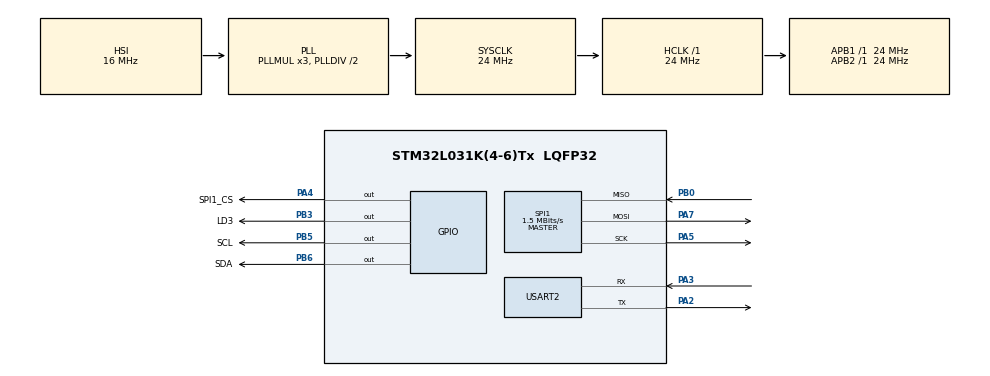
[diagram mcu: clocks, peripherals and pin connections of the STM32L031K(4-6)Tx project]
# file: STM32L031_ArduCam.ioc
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Mcu.Family=STM32L0
Mcu.Name=STM32L031K(4-6)Tx
Mcu.Package=LQFP32
PA2.Mode=Asynchronous
PA2.Signal=USART2_TX
PA3.Mode=Asynchronous
PA3.Signal=USART2_RX
PA4.GPIO_Label=SPI1_CS
PA4.GPIO_PuPd=GPIO_PULLUP
PA4.GPIO_Speed=GPIO_SPEED_FREQ_VERY_HIGH
PA4.PinState=GPIO_PIN_RESET
PA4.Signal=GPIO_Output
PA5.Mode=Full_Duplex_Master
PA5.Signal=SPI1_SCK
PA7.GPIO_PuPd=GPIO_NOPULL
PA7.Mode=Full_Duplex_Master
PA7.Signal=SPI1_MOSI
PB0.GPIO_PuPd=GPIO_NOPULL
PB0.Mode=Full_Duplex_Master
PB0.Signal=SPI1_MISO
PB3.GPIO_Label=LD3
PB3.GPIO_Speed=GPIO_SPEED_FREQ_LOW
PB3.Signal=GPIO_Output
PB5.GPIO_Label=SCL
PB5.GPIO_PuPd=GPIO_PULLUP
PB5.GPIO_Speed=GPIO_SPEED_FREQ_VERY_HIGH
PB5.Signal=GPIO_Output
PB6.GPIO_Label=SDA
PB6.GPIO_PuPd=GPIO_PULLUP
PB6.GPIO_Speed=GPIO_SPEED_FREQ_VERY_HIGH
PB6.Signal=GPIO_Output
ProjectManager.HeapSize=0x200
ProjectManager.StackSize=0x400
ProjectManager.TargetToolchain=STM32CubeIDE
RCC.AHBFreq_Value=24000000
RCC.APB1Freq_Value=24000000
RCC.APB1TimFreq_Value=24000000
RCC.APB2Freq_Value=24000000
RCC.APB2TimFreq_Value=24000000
RCC.HCLKFreq_Value=24000000
RCC.HSE_VALUE=8000000
RCC.HSI16_VALUE=16000000
RCC.HSI_VALUE=16000000
RCC.LSE_VALUE=32768
RCC.MSI_VALUE=2097000
RCC.SYSCLKFreq_VALUE=24000000
RCC.SYSCLKSource=RCC_SYSCLKSOURCE_PLLCLK
RCC.VCOOutputFreq_Value=48000000
SPI1.BaudRatePrescaler=SPI_BAUDRATEPRESCALER_16
SPI1.CalculateBaudRate=1.5 MBits/s
SPI1.Direction=SPI_DIRECTION_2LINES
SPI1.Mode=SPI_MODE_MASTER
SPI1.VirtualType=VM_MASTER
TIM2.Prescaler=24
USART2.VirtualMode-Asynchronous=VM_ASYNC
VP_TIM2_VS_ClockSourceINT.Mode=Internal
board=custom

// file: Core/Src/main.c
/* USER CODE BEGIN Header */
/**
 ******************************************************************************
 * @file           : main.c
 * @brief          : Main program body
 ******************************************************************************
 * @attention
 *
 * <h2><center>&copy; Copyright (c) 2021 STMicroelectronics.
 * All rights reserved.</center></h2>
 *
 * This software component is licensed by ST under BSD 3-Clause license,
 * the "License"; You may not use this file except in compliance with the
 * License. You may obtain a copy of the License at:
 *                        opensource.org/licenses/BSD-3-Clause
 *
 ******************************************************************************
 */
/* USER CODE END Header */
#include "main.h"

/* USER CODE BEGIN Includes */
#include "stdio.h"
#include "string.h"
#include "retarget.h"

#include "delay.h"

#include "sccb_bus.h"
#include "ArduCAM.h"
#include "spi.h"

/* USER CODE END Includes */

SPI_HandleTypeDef hspi1;

TIM_HandleTypeDef htim2;

UART_HandleTypeDef huart2;

void SystemClock_Config(void);
static void MX_GPIO_Init(void);
static void MX_SPI1_Init(void);
static void MX_USART2_UART_Init(void);
static void MX_TIM2_Init(void);

/* USER CODE BEGIN 0 */

//HAL_GPIO_WritePin(SPI1_CS_GPIO_Port, SPI1_CS_Pin, GPIO_PIN_RESET);
//HAL_SPI_Transmit (&hspi1, data, 1, 100);  // write data to register
//HAL_SPI_Receive (&hspi1, data_rec, 1, 100);  // receive 6 bytes data
//HAL_GPIO_WritePin(SPI1_CS_GPIO_Port, SPI1_CS_Pin, GPIO_PIN_SET);

//  HAL_SPI_TransmitReceive(&hspi1, uint8_t * pTxData, uint8_t * pRxData, uint16_t Size, uint32_t Timeout);

//void SPI1_WriteByte(uint8_t data) {
//  HAL_SPI_Transmit (&hspi1, &data, 1, 100);  // write data to register
//}
//
//uint8_t SPI1_ReadByte(uint8_t data) {
//  uint8_t data_rec = 0;
//  HAL_SPI_Receive (&hspi1, &data_rec, 1, 100);
//  return data_rec;
//}
//
//uint8_t SPI1_ReadWriteByte(uint8_t TxData)
//{
////  uint8_t retry=0;
////  while(SPI_I2S_GetFlagStatus(SPI2, SPI_I2S_FLAG_TXE) == RESET)
////  {
////    retry++;
////    if(retry>200)return 0;
////  }
////  SPI_I2S_SendData(SPI2, TxData);
////  retry=0;
//
//  HAL_SPI_Transmit (&hspi1, &TxData, 1, 100);  // write data to register
//
////  while(SPI_I2S_GetFlagStatus(SPI2, SPI_I2S_FLAG_RXNE) == RESET)
////  {
////    retry++;
////    if(retry>200)return 0;
////  }
////  return SPI_I2S_ReceiveData(SPI2);
//
//  uint8_t data_rec = 0;
//  HAL_SPI_Receive (&hspi1, &data_rec, 1, 100);
//  return data_rec;
//
////    uint8_t data_rec = 0;
////  HAL_SPI_TransmitReceive(&hspi1, &TxData, &data_rec, 1, 100);
////  return data_rec;
//}

//uint8_t my_bus_read(int address)
//{
//  uint8_t value;
//  HAL_GPIO_WritePin(SPI1_CS_GPIO_Port, SPI1_CS_Pin, GPIO_PIN_RESET);
//
////  SPI1_ReadWriteByte(address);
////  value = SPI1_ReadWriteByte(0xAA); // dummy value
//  SPI1_WriteByte(address);
//  value = SPI1_ReadByte(0xAA);
//  HAL_GPIO_WritePin(SPI1_CS_GPIO_Port, SPI1_CS_Pin, GPIO_PIN_SET);
//  return value;
//}
//
//uint8_t my_bus_write(int address,int value)
//{
//  HAL_GPIO_WritePin(SPI1_CS_GPIO_Port, SPI1_CS_Pin, GPIO_PIN_RESET);
////  delay_us(10);
////  SPI1_ReadWriteByte(address);
////  SPI1_ReadWriteByte(value);
////  delay_us(10);
//  SPI1_WriteByte(address);
//  SPI1_WriteByte(value);
//  HAL_GPIO_WritePin(SPI1_CS_GPIO_Port, SPI1_CS_Pin, GPIO_PIN_SET);
//  return 1;
//}
//
//uint8_t my_read_reg(uint8_t addr)
//{
//  uint8_t data;
//  data = my_bus_read(addr & 0x7F);
////  data = my_bus_read(addr);
//  return data;
//}
//
//
//void my_write_reg(uint8_t addr, uint8_t data)
//{
//  my_bus_write(addr | 0x80, data);
////  my_bus_write(addr, data);
//}

/* USER CODE END 0 */

int main(void)
{
  /* USER CODE BEGIN 1 */
  uint8_t vid,pid;
  /* USER CODE END 1 */

  /* MCU Configuration--------------------------------------------------------*/

  /* Reset of all peripherals, Initializes the Flash interface and the Systick. */
  HAL_Init();

  /* USER CODE BEGIN Init */
  RetargetInit(&huart2);
  /* USER CODE END Init */

  /* Configure the system clock */
  SystemClock_Config();

  /* Initialize all configured peripherals */
  MX_GPIO_Init();
  MX_SPI1_Init();
  MX_USART2_UART_Init();
  MX_TIM2_Init();
  /* USER CODE BEGIN 2 */

  // Start the timer for delay_xs functions
  HAL_TIM_Base_Start(&htim2);

// @todo keep this original I2C code for now
//
//  uint8_t i = 0, ret;
//
//  printf("Start Scan...\r\n");
//
//  for(i=1; i<128; i++)
//  {
//    ret = HAL_I2C_IsDeviceReady(&hi2c1, (uint16_t)(i<<1), 3, 5);
//    if (ret != HAL_OK) /* No ACK Received At That Address */
//    {
//      printf("NN ");
//    }
//    else if(ret == HAL_OK)
//    {
//      printf("0x%02X ",i);
//    }
//  }
//
//  printf("\r\nEnd Scan...\r\n");

  HAL_GPIO_WritePin(SPI1_CS_GPIO_Port, SPI1_CS_Pin, GPIO_PIN_SET);

  // Look for ArduCam OV5642
  uint8_t sensor_addr = 0x78;
  rdSensorReg16_8(sensor_addr, OV5642_CHIPID_HIGH, &vid);
  rdSensorReg16_8(sensor_addr, OV5642_CHIPID_LOW, &pid);
  if ((vid == 0x56) && (pid == 0x42)) {
    // Found it; blink a pattern
    HAL_GPIO_WritePin(LD3_GPIO_Port, LD3_Pin, GPIO_PIN_SET);
    delay_ms(100);
    HAL_GPIO_WritePin(LD3_GPIO_Port, LD3_Pin, GPIO_PIN_RESET);
    delay_ms(100);
    HAL_GPIO_WritePin(LD3_GPIO_Port, LD3_Pin, GPIO_PIN_SET);
    delay_ms(100);
    HAL_GPIO_WritePin(LD3_GPIO_Port, LD3_Pin, GPIO_PIN_RESET);
  }

  delay_ms(100);

  set_format(BMP);
  ArduCAM_Init(sensor_addr);

  OV5642_set_JPEG_size(sensor_addr, OV5642_320x240);
  printf("ACK CMD switch to OV5642_320x240\r\n");

//  uint8_t b = get_bit(ARDUCHIP_TRIG , CAP_DONE_MASK);
    SingleCapTransfer();
  if(receive_OK)
  {
    receive_OK= 0;
    printf("receive okay\r\n");
//    SendbyUSART1();
  }

  /* USER CODE END 2 */

  /* Infinite loop */
  while (1)
  {

    /* USER CODE BEGIN 3 */

//    write_reg(ARDUCHIP_TEST1, 0xE5);
//    delay_us(10);
//    uint8_t temp = read_reg(ARDUCHIP_TEST1);
//
//    printf("0x%02X\r\n",temp);

    // heart beat
    HAL_GPIO_WritePin(LD3_GPIO_Port, LD3_Pin, GPIO_PIN_RESET);
    delay_ms(1000);
    HAL_GPIO_WritePin(LD3_GPIO_Port, LD3_Pin, GPIO_PIN_SET);
    delay_ms(1000);

  }
  /* USER CODE END 3 */
}

void SystemClock_Config(void)
{
  RCC_OscInitTypeDef RCC_OscInitStruct = {0};
  RCC_ClkInitTypeDef RCC_ClkInitStruct = {0};
  RCC_PeriphCLKInitTypeDef PeriphClkInit = {0};

  /** Configure the main internal regulator output voltage
  */
  __HAL_PWR_VOLTAGESCALING_CONFIG(PWR_REGULATOR_VOLTAGE_SCALE1);
  /** Initializes the RCC Oscillators according to the specified parameters
  * in the RCC_OscInitTypeDef structure.
  */
  RCC_OscInitStruct.OscillatorType = RCC_OSCILLATORTYPE_HSI;
  RCC_OscInitStruct.HSIState = RCC_HSI_ON;
  RCC_OscInitStruct.HSICalibrationValue = RCC_HSICALIBRATION_DEFAULT;
  RCC_OscInitStruct.PLL.PLLState = RCC_PLL_ON;
  RCC_OscInitStruct.PLL.PLLSource = RCC_PLLSOURCE_HSI;
  RCC_OscInitStruct.PLL.PLLMUL = RCC_PLLMUL_3;
  RCC_OscInitStruct.PLL.PLLDIV = RCC_PLLDIV_2;
  if (HAL_RCC_OscConfig(&RCC_OscInitStruct) != HAL_OK)
  {
    Error_Handler();
  }
  /** Initializes the CPU, AHB and APB buses clocks
  */
  RCC_ClkInitStruct.ClockType = RCC_CLOCKTYPE_HCLK|RCC_CLOCKTYPE_SYSCLK
                              |RCC_CLOCKTYPE_PCLK1|RCC_CLOCKTYPE_PCLK2;
  RCC_ClkInitStruct.SYSCLKSource = RCC_SYSCLKSOURCE_PLLCLK;
  RCC_ClkInitStruct.AHBCLKDivider = RCC_SYSCLK_DIV1;
  RCC_ClkInitStruct.APB1CLKDivider = RCC_HCLK_DIV1;
  RCC_ClkInitStruct.APB2CLKDivider = RCC_HCLK_DIV1;

  if (HAL_RCC_ClockConfig(&RCC_ClkInitStruct, FLASH_LATENCY_1) != HAL_OK)
  {
    Error_Handler();
  }
  PeriphClkInit.PeriphClockSelection = RCC_PERIPHCLK_USART2;
  PeriphClkInit.Usart2ClockSelection = RCC_USART2CLKSOURCE_PCLK1;
  if (HAL_RCCEx_PeriphCLKConfig(&PeriphClkInit) != HAL_OK)
  {
    Error_Handler();
  }
}

static void MX_SPI1_Init(void)
{

  /* SPI1 parameter configuration*/
  hspi1.Instance = SPI1;
  hspi1.Init.Mode = SPI_MODE_MASTER;
  hspi1.Init.Direction = SPI_DIRECTION_2LINES;
  hspi1.Init.DataSize = SPI_DATASIZE_8BIT;
  hspi1.Init.CLKPolarity = SPI_POLARITY_LOW;
  hspi1.Init.CLKPhase = SPI_PHASE_1EDGE;
  hspi1.Init.NSS = SPI_NSS_SOFT;
  hspi1.Init.BaudRatePrescaler = SPI_BAUDRATEPRESCALER_16;
  hspi1.Init.FirstBit = SPI_FIRSTBIT_MSB;
  hspi1.Init.TIMode = SPI_TIMODE_DISABLE;
  hspi1.Init.CRCCalculation = SPI_CRCCALCULATION_DISABLE;
  hspi1.Init.CRCPolynomial = 7;
  if (HAL_SPI_Init(&hspi1) != HAL_OK)
  {
    Error_Handler();
  }

}

static void MX_TIM2_Init(void)
{

  TIM_ClockConfigTypeDef sClockSourceConfig = {0};
  TIM_MasterConfigTypeDef sMasterConfig = {0};

  htim2.Instance = TIM2;
  htim2.Init.Prescaler = 24;
  htim2.Init.CounterMode = TIM_COUNTERMODE_UP;
  htim2.Init.Period = 65535;
  htim2.Init.ClockDivision = TIM_CLOCKDIVISION_DIV1;
  htim2.Init.AutoReloadPreload = TIM_AUTORELOAD_PRELOAD_DISABLE;
  if (HAL_TIM_Base_Init(&htim2) != HAL_OK)
  {
    Error_Handler();
  }
  sClockSourceConfig.ClockSource = TIM_CLOCKSOURCE_INTERNAL;
  if (HAL_TIM_ConfigClockSource(&htim2, &sClockSourceConfig) != HAL_OK)
  {
    Error_Handler();
  }
  sMasterConfig.MasterOutputTrigger = TIM_TRGO_RESET;
  sMasterConfig.MasterSlaveMode = TIM_MASTERSLAVEMODE_DISABLE;
  if (HAL_TIMEx_MasterConfigSynchronization(&htim2, &sMasterConfig) != HAL_OK)
  {
    Error_Handler();
  }

}

static void MX_USART2_UART_Init(void)
{

  huart2.Instance = USART2;
  huart2.Init.BaudRate = 115200;
  huart2.Init.WordLength = UART_WORDLENGTH_8B;
  huart2.Init.StopBits = UART_STOPBITS_1;
  huart2.Init.Parity = UART_PARITY_NONE;
  huart2.Init.Mode = UART_MODE_TX_RX;
  huart2.Init.HwFlowCtl = UART_HWCONTROL_NONE;
  huart2.Init.OverSampling = UART_OVERSAMPLING_16;
  huart2.Init.OneBitSampling = UART_ONE_BIT_SAMPLE_DISABLE;
  huart2.AdvancedInit.AdvFeatureInit = UART_ADVFEATURE_NO_INIT;
  if (HAL_UART_Init(&huart2) != HAL_OK)
  {
    Error_Handler();
  }

}

static void MX_GPIO_Init(void)
{
  GPIO_InitTypeDef GPIO_InitStruct = {0};

  /* GPIO Ports Clock Enable */
  __HAL_RCC_GPIOA_CLK_ENABLE();
  __HAL_RCC_GPIOB_CLK_ENABLE();

  /*Configure GPIO pin Output Level */
  HAL_GPIO_WritePin(SPI1_CS_GPIO_Port, SPI1_CS_Pin, GPIO_PIN_RESET);

  /*Configure GPIO pin Output Level */
  HAL_GPIO_WritePin(GPIOB, LD3_Pin|SCL_Pin|SDA_Pin, GPIO_PIN_RESET);

  /*Configure GPIO pin : SPI1_CS_Pin */
  GPIO_InitStruct.Pin = SPI1_CS_Pin;
  GPIO_InitStruct.Mode = GPIO_MODE_OUTPUT_PP;
  GPIO_InitStruct.Pull = GPIO_PULLUP;
  GPIO_InitStruct.Speed = GPIO_SPEED_FREQ_VERY_HIGH;
  HAL_GPIO_Init(SPI1_CS_GPIO_Port, &GPIO_InitStruct);

  /*Configure GPIO pin : LD3_Pin */
  GPIO_InitStruct.Pin = LD3_Pin;
  GPIO_InitStruct.Mode = GPIO_MODE_OUTPUT_PP;
  GPIO_InitStruct.Pull = GPIO_NOPULL;
  GPIO_InitStruct.Speed = GPIO_SPEED_FREQ_LOW;
  HAL_GPIO_Init(LD3_GPIO_Port, &GPIO_InitStruct);

  /*Configure GPIO pins : SCL_Pin SDA_Pin */
  GPIO_InitStruct.Pin = SCL_Pin|SDA_Pin;
  GPIO_InitStruct.Mode = GPIO_MODE_OUTPUT_PP;
  GPIO_InitStruct.Pull = GPIO_PULLUP;
  GPIO_InitStruct.Speed = GPIO_SPEED_FREQ_VERY_HIGH;
  HAL_GPIO_Init(GPIOB, &GPIO_InitStruct);

}

void Error_Handler(void)
{
  __disable_irq();
  while (1)
  {
  }
}
